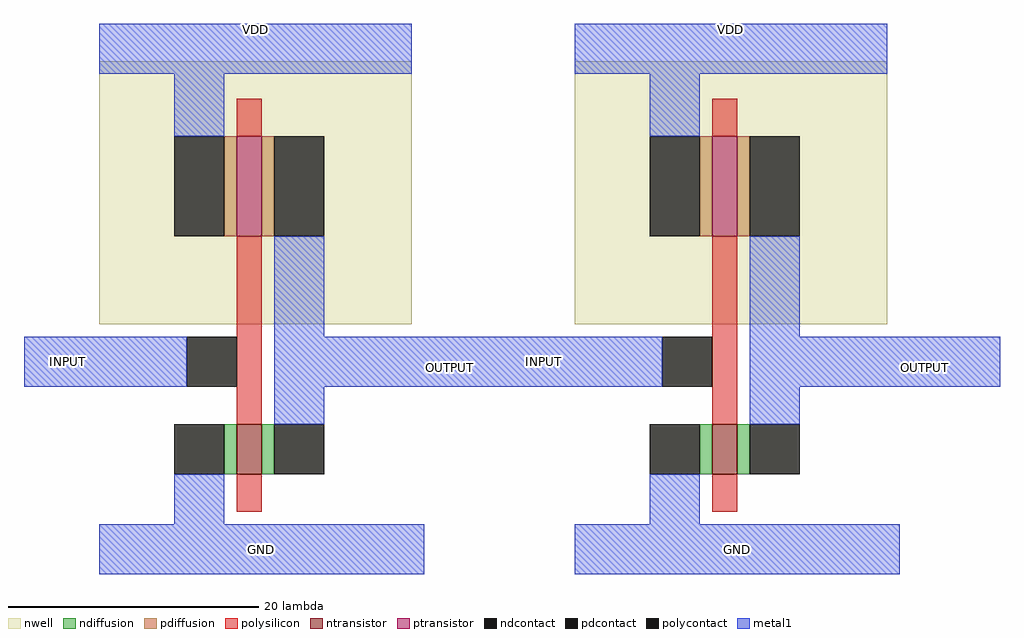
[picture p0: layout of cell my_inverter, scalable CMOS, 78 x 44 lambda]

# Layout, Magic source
magic
tech scmos
<< nwell >>
rect -2 -9 23 12
rect 36 -9 61 12
<< ntransistor >>
rect 9 -21 11 -17
rect 47 -21 49 -17
<< ptransistor >>
rect 9 -2 11 6
rect 47 -2 49 6
<< ndiffusion >>
rect 8 -21 9 -17
rect 11 -21 12 -17
rect 46 -21 47 -17
rect 49 -21 50 -17
<< pdiffusion >>
rect 8 -2 9 6
rect 11 -2 12 6
rect 46 -2 47 6
rect 49 -2 50 6
<< ndcontact >>
rect 4 -21 8 -17
rect 12 -21 16 -17
rect 42 -21 46 -17
rect 50 -21 54 -17
<< pdcontact >>
rect 4 -2 8 6
rect 12 -2 16 6
rect 42 -2 46 6
rect 50 -2 54 6
<< polysilicon >>
rect 9 6 11 9
rect 47 6 49 9
rect 9 -17 11 -2
rect 47 -17 49 -2
rect 9 -24 11 -21
rect 47 -24 49 -21
<< polycontact >>
rect 5 -14 9 -10
rect 43 -14 47 -10
<< metal1 >>
rect -2 11 23 15
rect 36 11 61 15
rect 4 6 8 11
rect 42 6 46 11
rect 12 -10 16 -2
rect 50 -10 54 -2
rect -8 -14 5 -10
rect 12 -14 43 -10
rect 50 -14 70 -10
rect 12 -17 16 -14
rect 50 -17 54 -14
rect 4 -25 8 -21
rect 42 -25 46 -21
rect -2 -29 24 -25
rect 36 -29 62 -25
<< labels >>
rlabel metal1 -2 -29 24 -25 1 GND
rlabel metal1 2 14 19 15 5 VDD
rlabel metal1 21 -14 31 -11 1 OUTPUT
rlabel metal1 -7 -14 -2 -10 3 INPUT
rlabel metal1 36 -29 62 -25 1 GND
rlabel metal1 40 14 57 15 5 VDD
rlabel metal1 59 -14 69 -11 1 OUTPUT
rlabel metal1 31 -14 36 -10 3 INPUT
<< end >>
